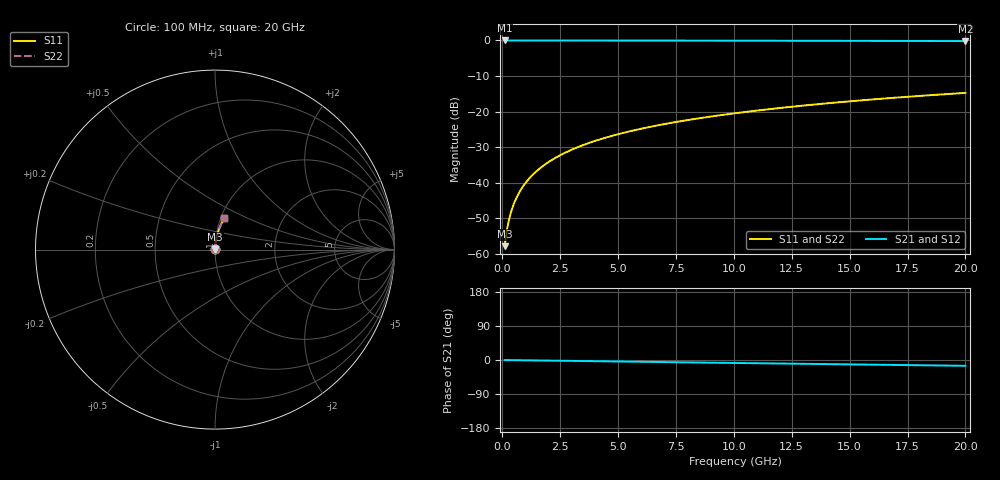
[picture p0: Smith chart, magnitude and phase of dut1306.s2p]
! Touchstone file exported from HFSS 2026.1.0
!  File:  C:/ffzhzh/LocalFiles/Ansys_Project_Files/temp_train_BSMRDL_1306_1783178278_51560.aedt
!  Generated:  11:19:11 PM Jul  4, 2026
!  Design:  BSMRDL
!  Project:  temp_train_BSMRDL_1306_1783178278_51560
! Variables:
!  h_bsmrdl = 5.89um
!  h_ox = 20um
!  h_rdl = 5um
!  h_sub = 80um
!  h_tmrdl = 5um
!  h_tsv = 80um
!  h_via = 3um
!  l_bsmrdl = 165.33um
!  l_sub = 565.33um
!  l_tmrdl = 200um
!  m_sub = 200um
!  pitch = 52.2um
!  r_tsv = 6um
!  s_tmrdl = 10um
!  w_bsmrdl = 14.74um
!  w_sub = 500um
!  w_tmrdl = 12um
!  x_tsv_center1 = 206um
!  x_tsv_center2 = 386.07um
!  x_tsv_center3 = 598.07um
!  x_tsv_center4 = 778.14um
!  x_tsv_center5 = 990.14um
!  x_tsv_center6 = 1170.21um
# GHz S MA R 50.000000
! Terminal data exported
! Port[1] = BSM_RDL1_1_T1
! Port[2] = BSM_RDL1_1_T2
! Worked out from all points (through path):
!   200 points, 100 MHz to 20 GHz, reference 50 ohm
!   highest |S21| = -0.01 dB at 100 MHz (marker M1); lowest = -0.2 dB at 20 GHz (marker M2)
!   group delay of S21, straight-line fit = 2.13 ps
!   lowest |S11| = -57.9 dB at 100 MHz (marker M3), VSWR 1.00, Z = 50.1 + j0.101 ohm
!   |S11| at or under -10 dB: start of sweep to end of sweep
!   |S22| runs from -57.9 to -14.8 dB; largest |S21 - S12| = 3.5e-15
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0.1  0.001277 52.4  0.9992 -0.1  0.9992 -0.1  0.001277 52.4
! Gamma 0 0 0 0
! Port Impedance 50 0 50 0
0.2  0.00217 68.2  0.9992 -0.2  0.9992 -0.2  0.00217 68.2
0.3  0.003122 74.4  0.9992 -0.2  0.9992 -0.2  0.003122 74.4
0.4  0.004084 77.6  0.9991 -0.3  0.9991 -0.3  0.004084 77.6
0.5  0.005046 79.5  0.9991 -0.4  0.9991 -0.4  0.005046 79.5
0.7  0.006972 81.8  0.999 -0.6  0.999 -0.6  0.006972 81.8
0.8  0.007935 82.5  0.999 -0.6  0.999 -0.6  0.007935 82.5
1  0.009862 83.5  0.9989 -0.8  0.9989 -0.8  0.009862 83.5
1.2  0.01179 84.1  0.9989 -1.0  0.9989 -1.0  0.01179 84.1
1.4  0.01372 84.5  0.9988 -1.1  0.9988 -1.1  0.01372 84.5
1.7  0.01661 84.8  0.9987 -1.4  0.9987 -1.4  0.01661 84.8
2  0.0195 85.0  0.9986 -1.6  0.9986 -1.6  0.0195 85.0
2.7  0.02621 85.0  0.9983 -2.1  0.9983 -2.1  0.02621 85.0
3.5  0.03383 84.6  0.9979 -2.8  0.9979 -2.8  0.03383 84.6
4.2  0.04045 84.3  0.9975 -3.3  0.9975 -3.3  0.04045 84.3
5  0.04796 83.8  0.997 -3.9  0.997 -3.9  0.04796 83.8
6.8  0.06472 82.6  0.9956 -5.3  0.9956 -5.3  0.06472 82.6
8.3  0.07855 81.6  0.9943 -6.5  0.9943 -6.5  0.07855 81.6
10.1  0.09503 80.4  0.9926 -7.9  0.9926 -7.9  0.09503 80.4
13.4  0.1249 78.1  0.9889 -10.4  0.9889 -10.4  0.1249 78.1
16.7  0.1542 75.8  0.9844 -12.9  0.9844 -12.9  0.1542 75.8
20  0.1829 73.4  0.9792 -15.3  0.9792 -15.3  0.1829 73.4
